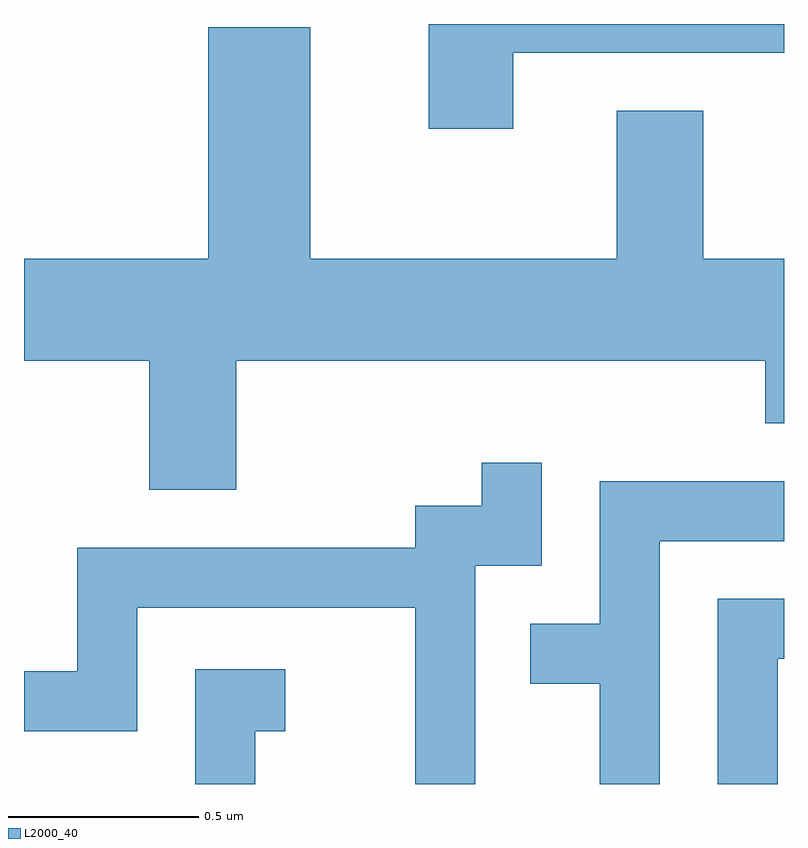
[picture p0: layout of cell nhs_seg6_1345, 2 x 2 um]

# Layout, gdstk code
import gdstk
lib = gdstk.Library(unit=1e-6, precision=1e-09)
def P(c, l, *ps):  # polygons
    for p in ps: c.add(gdstk.Polygon(p, *l))
L2000_40 = (2000, 40)

nhs_seg6_1345 = lib.new_cell('nhs_seg6_1345')
P(nhs_seg6_1345, L2000_40, [(195.899,1644.086),(196.611,1644.086),(196.611,1644.162),(195.676,1644.162),(195.676,1643.886),(195.899,1643.886)],
  [(195.169,1643.276),(196.561,1643.276),(196.561,1643.111),(196.611,1643.111),(196.611,1643.544),(196.399,1643.544),(196.399,1643.934),(196.171,1643.934),(196.171,1643.544),(195.364,1643.544),(195.364,1644.154),(195.096,1644.154),(195.096,1643.544),(194.611,1643.544),(194.611,1643.276),(194.941,1643.276),(194.941,1642.936),(195.169,1642.936)],
  [(195.799,1642.736),(195.974,1642.736),(195.974,1643.008),(195.816,1643.008),(195.816,1642.894),(195.641,1642.894),(195.641,1642.784),(194.751,1642.784),(194.751,1642.459),(194.611,1642.459),(194.611,1642.301),(194.909,1642.301),(194.909,1642.626),(195.641,1642.626),(195.641,1642.162),(195.799,1642.162)],
  [(196.284,1642.801),(196.611,1642.801),(196.611,1642.959),(196.126,1642.959),(196.126,1642.584),(195.943,1642.584),(195.943,1642.426),(196.126,1642.426),(196.126,1642.162),(196.284,1642.162)],
  [(196.594,1642.491),(196.611,1642.491),(196.611,1642.649),(196.436,1642.649),(196.436,1642.162),(196.594,1642.162)],
  [(195.219,1642.301),(195.298,1642.301),(195.298,1642.464),(195.061,1642.464),(195.061,1642.162),(195.219,1642.162)])

lib.write_gds('nhs_seg6_1345.gds')
